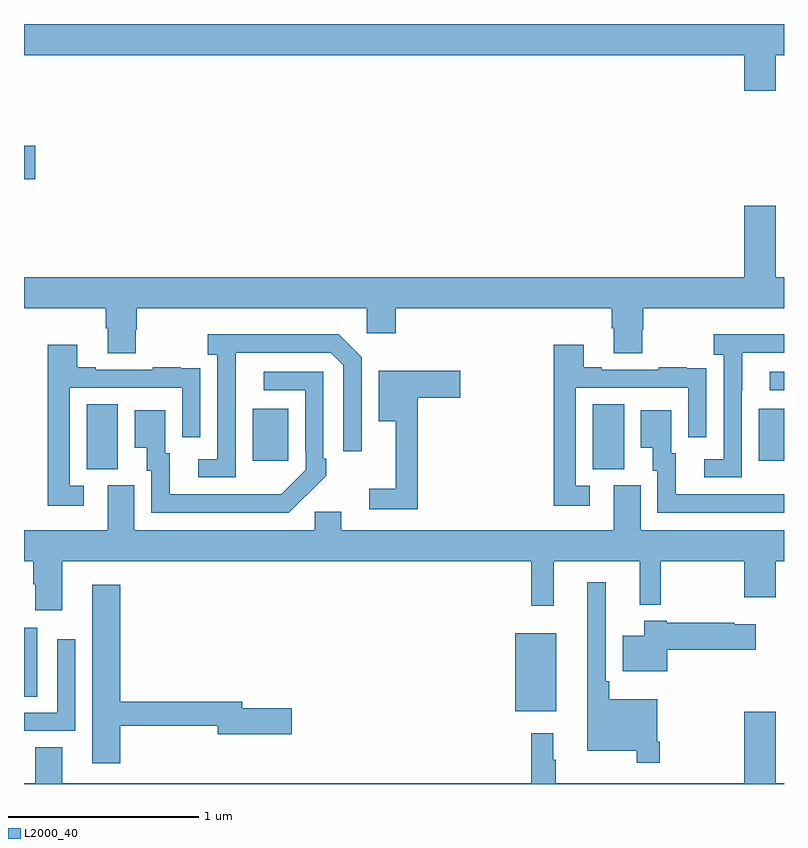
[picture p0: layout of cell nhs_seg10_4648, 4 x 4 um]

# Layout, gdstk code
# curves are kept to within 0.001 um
import gdstk
lib = gdstk.Library(unit=1e-6, precision=1e-09)
def R(c, l, rs):  # rectangles x0, y0, x1, y1
    for r in rs: c.add(gdstk.rectangle(r[:2], r[2:], *l))
def P(c, l, *ps):  # polygons
    for p in ps: c.add(gdstk.Polygon(p, *l))
L2000_40 = (2000, 40)

nhs_seg10_4648 = lib.new_cell('nhs_seg10_4648')
R(nhs_seg10_4648, L2000_40, [(379.586,1276.883,379.801,1277.293), (377,1276.96,377.071,1277.323), (377.33,1278.157,377.494,1278.5), (379.994,1278.157,380.158,1278.5), (378.203,1278.201,378.391,1278.475), (380.867,1278.201,381,1278.475), (380.925,1278.573,381,1278.669), (377,1279.682,377.059,1279.86)])
P(nhs_seg10_4648, L2000_40, [(380.956,1280.336),(381,1280.336),(381,1280.5),(377,1280.5),(377,1280.336),(380.792,1280.336),(380.792,1280.148),(380.956,1280.148)],
  [(377.589,1278.891),(377.594,1278.891),(377.594,1279.004),(378.804,1279.004),(378.804,1278.873),(378.956,1278.873),(378.956,1279.004),(380.093,1279.004),(380.093,1278.898),(380.105,1278.898),(380.105,1278.766),(380.253,1278.766),(380.253,1278.891),(380.258,1278.891),(380.258,1279.004),(381,1279.004),(381,1279.168),(380.956,1279.168),(380.956,1279.543),(380.792,1279.543),(380.792,1279.168),(377,1279.168),(377,1279.004),(377.429,1279.004),(377.429,1278.898),(377.441,1278.898),(377.441,1278.766),(377.589,1278.766)],
  [(380.778,1278.571),(380.779,1278.571),(380.779,1278.771),(381,1278.771),(381,1278.868),(380.631,1278.868),(380.631,1278.758),(380.682,1278.758),(380.682,1278.21),(380.58,1278.21),(380.58,1278.114),(380.778,1278.114)],
  [(378.114,1278.571),(378.115,1278.771),(378.615,1278.771),(378.681,1278.705),(378.681,1278.252),(378.777,1278.252),(378.777,1278.747),(378.656,1278.868),(377.967,1278.868),(377.967,1278.758),(378.018,1278.758),(378.018,1278.21),(377.916,1278.21),(377.916,1278.114),(378.114,1278.114)],
  [(379.978,1278.069),(379.905,1278.069),(379.905,1278.585),(380.496,1278.585),(380.496,1278.324),(380.592,1278.324),(380.592,1278.578),(380.591,1278.578),(380.591,1278.687),(380.489,1278.687),(380.489,1278.694),(380.341,1278.694),(380.341,1278.681),(380.041,1278.681),(380.041,1278.694),(379.945,1278.694),(379.945,1278.811),(379.789,1278.811),(379.789,1277.964),(379.978,1277.964)],
  [(377.314,1278.069),(377.241,1278.069),(377.241,1278.585),(377.832,1278.585),(377.832,1278.324),(377.928,1278.324),(377.928,1278.578),(377.927,1278.578),(377.927,1278.687),(377.825,1278.687),(377.825,1278.694),(377.677,1278.694),(377.677,1278.681),(377.377,1278.681),(377.377,1278.694),(377.281,1278.694),(377.281,1278.811),(377.125,1278.811),(377.125,1277.964),(377.314,1277.964)],
  [(379.073,1278.533),(379.297,1278.533),(379.297,1278.675),(378.866,1278.675),(378.866,1278.41),(378.956,1278.41),(378.956,1278.055),(378.816,1278.055),(378.816,1277.946),(379.073,1277.946)],
  [(378.485,1278.019),(378.486,1278.018),(378.591,1278.123),(378.591,1278.211),(378.576,1278.211),(378.576,1278.669),(378.261,1278.669),(378.261,1278.573),(378.48,1278.573),(378.48,1278.253),(378.483,1278.253),(378.483,1278.153),(378.355,1278.025),(377.767,1278.024),(377.767,1278.24),(377.743,1278.24),(377.743,1278.466),(377.582,1278.466),(377.582,1278.269),(377.645,1278.269),(377.645,1278.15),(377.67,1278.15),(377.67,1277.928),(378.394,1277.928)],
  [(381,1278.025),(380.915,1278.025),(380.915,1278.024),(380.431,1278.024),(380.431,1278.24),(380.407,1278.24),(380.407,1278.466),(380.246,1278.466),(380.246,1278.269),(380.309,1278.269),(380.309,1278.15),(380.334,1278.15),(380.334,1277.928),(381,1277.928)],
  [(380.105,1277.836),(378.67,1277.836),(378.67,1277.934),(378.531,1277.934),(378.531,1277.836),(377.581,1277.836),(377.581,1278.072),(377.441,1278.072),(377.441,1277.836),(377,1277.836),(377,1277.672),(377.048,1277.672),(377.048,1277.552),(377.06,1277.552),(377.06,1277.415),(377.2,1277.415),(377.2,1277.672),(379.669,1277.672),(379.669,1277.439),(379.787,1277.439),(379.787,1277.672),(380.24,1277.672),(380.24,1277.444),(380.35,1277.444),(380.35,1277.672),(380.792,1277.672),(380.792,1277.484),(380.956,1277.484),(380.956,1277.672),(381,1277.672),(381,1277.836),(380.245,1277.836),(380.245,1278.072),(380.105,1278.072)],
  [(380.347,1276.723),(380.334,1276.723),(380.334,1276.945),(380.081,1276.945),(380.081,1277.041),(380.061,1277.041),(380.061,1277.563),(379.964,1277.563),(379.964,1276.676),(380.226,1276.676),(380.226,1276.611),(380.347,1276.611)],
  [(377.507,1276.806),(378.02,1276.806),(378.02,1276.763),(378.409,1276.763),(378.409,1276.898),(378.148,1276.898),(378.148,1276.934),(377.507,1276.934),(377.507,1277.548),(377.36,1277.548),(377.36,1276.608),(377.507,1276.608)],
  [(380.386,1277.207),(380.851,1277.207),(380.851,1277.341),(380.738,1277.341),(380.738,1277.349),(380.382,1277.349),(380.382,1277.359),(380.264,1277.359),(380.264,1277.281),(380.15,1277.281),(380.15,1277.093),(380.386,1277.093)],
  [(377.271,1277.263),(377.175,1277.263),(377.175,1276.875),(377,1276.875),(377,1276.779),(377.271,1276.779)],
  [(381,1276.504),(380.956,1276.504),(380.956,1276.879),(380.792,1276.879),(380.792,1276.504),(379.798,1276.504),(379.798,1276.628),(379.786,1276.628),(379.786,1276.768),(379.669,1276.768),(379.669,1276.504),(377.2,1276.504),(377.2,1276.694),(377.06,1276.694),(377.06,1276.504),(377,1276.504),(377,1276.5),(381,1276.5)])

lib.write_gds('nhs_seg10_4648.gds')
